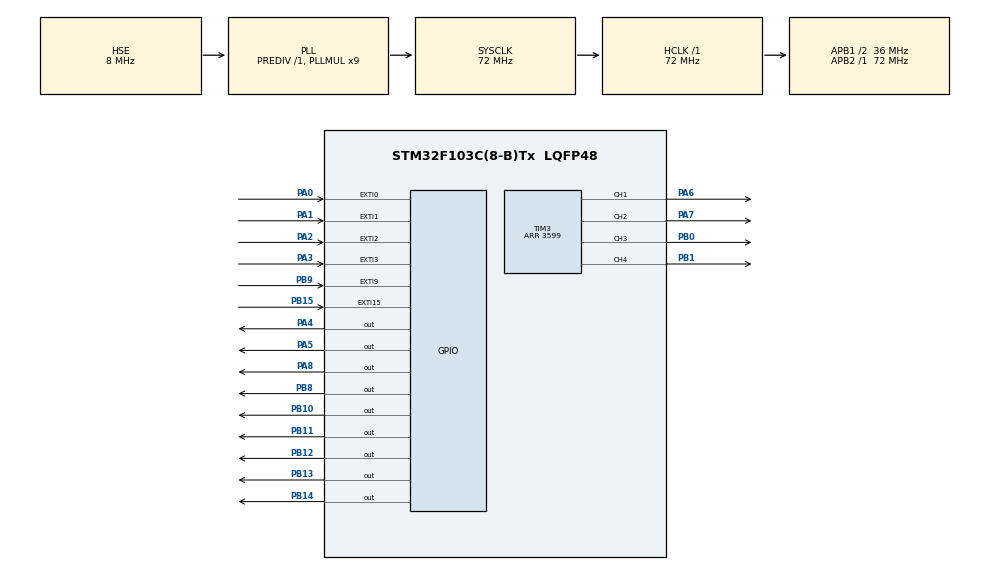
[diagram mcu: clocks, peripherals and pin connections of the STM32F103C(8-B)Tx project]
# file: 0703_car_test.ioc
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Mcu.Family=STM32F1
Mcu.Name=STM32F103C(8-B)Tx
Mcu.Package=LQFP48
NVIC.EXTI0_IRQn=true\:0\:0\:false\:false\:true\:true\:true\:true
NVIC.EXTI1_IRQn=true\:0\:0\:false\:false\:true\:true\:true\:true
NVIC.EXTI2_IRQn=true\:0\:0\:false\:false\:true\:true\:true\:true
NVIC.EXTI3_IRQn=true\:0\:0\:false\:false\:true\:true\:true\:true
NVIC.EXTI9_5_IRQn=true\:0\:0\:false\:false\:true\:true\:true\:true
NVIC.PriorityGroup=NVIC_PRIORITYGROUP_4
PA0-WKUP.GPIO_ModeDefaultEXTI=GPIO_MODE_IT_RISING_FALLING
PA0-WKUP.Signal=GPXTI0
PA1.GPIO_ModeDefaultEXTI=GPIO_MODE_IT_RISING_FALLING
PA1.Signal=GPXTI1
PA13.Mode=Serial_Wire
PA13.Signal=SYS_JTMS-SWDIO
PA14.Mode=Serial_Wire
PA14.Signal=SYS_JTCK-SWCLK
PA2.GPIO_ModeDefaultEXTI=GPIO_MODE_IT_RISING_FALLING
PA2.Signal=GPXTI2
PA3.GPIO_ModeDefaultEXTI=GPIO_MODE_IT_RISING_FALLING
PA3.Signal=GPXTI3
PA4.Signal=GPIO_Output
PA5.Signal=GPIO_Output
PA6.Signal=S_TIM3_CH1
PA7.Signal=S_TIM3_CH2
PA8.Signal=GPIO_Output
PB0.Signal=S_TIM3_CH3
PB1.Signal=S_TIM3_CH4
PB10.Signal=GPIO_Output
PB11.Signal=GPIO_Output
PB12.Signal=GPIO_Output
PB13.Signal=GPIO_Output
PB14.Signal=GPIO_Output
PB15.Signal=GPXTI15
PB8.Signal=GPIO_Output
PB9.GPIO_ModeDefaultEXTI=GPIO_MODE_IT_RISING_FALLING
PB9.Signal=GPXTI9
PD0-OSC_IN.Mode=HSE-External-Oscillator
PD0-OSC_IN.Signal=RCC_OSC_IN
PD1-OSC_OUT.Mode=HSE-External-Oscillator
PD1-OSC_OUT.Signal=RCC_OSC_OUT
ProjectManager.HeapSize=0x200
ProjectManager.StackSize=0x400
ProjectManager.TargetToolchain=STM32CubeIDE
RCC.AHBFreq_Value=72000000
RCC.APB1CLKDivider=RCC_HCLK_DIV2
RCC.APB1Freq_Value=36000000
RCC.APB1TimFreq_Value=72000000
RCC.APB2Freq_Value=72000000
RCC.APB2TimFreq_Value=72000000
RCC.HCLKFreq_Value=72000000
RCC.PLLMUL=RCC_PLL_MUL9
RCC.PLLSourceVirtual=RCC_PLLSOURCE_HSE
RCC.SYSCLKFreq_VALUE=72000000
RCC.SYSCLKSource=RCC_SYSCLKSOURCE_PLLCLK
RCC.USBFreq_Value=72000000
SH.S_TIM3_CH1.0=TIM3_CH1,PWM Generation1 CH1
SH.S_TIM3_CH2.0=TIM3_CH2,PWM Generation2 CH2
SH.S_TIM3_CH3.0=TIM3_CH3,PWM Generation3 CH3
SH.S_TIM3_CH4.0=TIM3_CH4,PWM Generation4 CH4
TIM2.Prescaler=71
TIM3.Channel-PWM\ Generation1\ CH1=TIM_CHANNEL_1
TIM3.Channel-PWM\ Generation2\ CH2=TIM_CHANNEL_2
TIM3.Channel-PWM\ Generation3\ CH3=TIM_CHANNEL_3
TIM3.Channel-PWM\ Generation4\ CH4=TIM_CHANNEL_4
TIM3.Period=3599
VP_TIM2_VS_ClockSourceINT.Mode=Internal
board=custom

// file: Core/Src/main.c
/* USER CODE BEGIN Header */
/**
  ******************************************************************************
  * @file           : main.c
  * @brief          : Main program body
  ******************************************************************************
  * @attention
  *
  * Copyright (c) 2026 STMicroelectronics.
  * All rights reserved.
  *
  * This software is licensed under terms that can be found in the LICENSE file
  * in the root directory of this software component.
  * If no LICENSE file comes with this software, it is provided AS-IS.
  *
  ******************************************************************************
  */
/* USER CODE END Header */
#include "main.h"

/* USER CODE BEGIN Includes */
#include <stdint.h>
/* USER CODE END Includes */

TIM_HandleTypeDef htim2;
TIM_HandleTypeDef htim3;

/* USER CODE BEGIN PV */

#define PWM_MAX 3599

//遥控器相关参数
#define RC_CH_COUNT 4 //遥控器通道数量
#define RC_MID_US 1500 //居中时遥控器输出的PWM信号的高电平宽度，单位us
#define RC_RANGE_US 500 //1500+-500是正常的范围
#define RC_MIN_VALID_US 900
#define RC_MAX_VALID_US 2100 //<900或者>2100的高电平信号视为噪声
#define RC_FAILSAFE_MS 120  //超过120ms没有收到有效遥控信号则停车；这叫作failsafe

// 默认：CH1 转向，CH2 油门
// 如果你用 CH3 当油门，把 THROTTLE_CH 改成 2
#define STEERING_CH 0
#define THROTTLE_CH 1

#define DEADBAND 0.06f // <6%的摇杆偏移视作0
#define EXPO_A 0.45f
#define MAX_SPEED 0.99f //调节最大速度（1.0为最大速度）
#define SLEW_STEP 0.04f //变化率限制，速度每一轮循环最多变化多少，避免电机极大的加速度
#define MIN_EFFECTIVE_CMD 0.12f //最小的有效占空比（占空比太小有可能推不动电机）

// HC-SR04 超声波避障：PB8=Trig，PB9=Echo。PB9按你的硬件确认可承受5V，所以Echo可直接接PB9。
#define US_TRIG_PORT GPIOB
#define US_TRIG_PIN  GPIO_PIN_8
#define US_ECHO_PORT GPIOB
#define US_ECHO_PIN  GPIO_PIN_9

// 非阻塞测距参数
#define US_SAMPLE_INTERVAL_MS 100U  //每100ms触发一次测距；不要太频繁，否则超声波余波会互相干扰
#define US_TIMEOUT_US 12000U        //12ms约对应2m量级往返时间；避障只关心近距离，不需要等30ms
#define OBSTACLE_STOP_CM 15.0f      //小于此距离，禁止继续前进
#define OBSTACLE_RELEASE_CM 25.0f   //大于此距离，解除避障；形成迟滞，避免临界抖动
#define FORWARD_CMD_THRESHOLD 0.05f //油门大于这个值才认为是在主动前进

#define US_STATE_IDLE      0
#define US_STATE_WAIT_RISE 1
#define US_STATE_WAIT_FALL 2
#define US_STATE_DONE      3

// region 不同接线下的方向调试
#define THROTTLE_REVERSE 0
#define STEERING_REVERSE 0

#define FL_REVERSE 1
#define RL_REVERSE 0
#define FR_REVERSE 0
#define RR_REVERSE 0
//endregion

//rc_us: 保存四个遥控通道的脉宽
//注意volatile的使用，此变量可能在主循环之外被修改，例如在中断函数修改，因此需要告诉编译器不要对这个变量进行优化
//对于rc_us: 会在EXT1中断回调里更新，主循环中只作读取
volatile uint16_t rc_us[RC_CH_COUNT] = {
  RC_MID_US, RC_MID_US, RC_MID_US, RC_MID_US
};

//记录每一个通道上升沿的时间
volatile uint16_t rc_start[RC_CH_COUNT] = {0, 0, 0, 0};
//记录每一个通道最后一次收到有效信号的时间，用于failsafe
volatile uint32_t rc_last_ms[RC_CH_COUNT] = {0, 0, 0, 0};

//debug
volatile uint32_t rc_edge_count[RC_CH_COUNT] = {0,0,0,0}; //查看终端出发的数量
volatile uint16_t rc_raw_width[RC_CH_COUNT] = {0,0,0,0}; //查看测出来的原始脉宽是多少

//static关键字：其他文件不能通过extern访问
static float left_now = 0.0f; //当前左轮的速度
static float right_now = 0.0f;

// HC-SR04 非阻塞测距相关变量
volatile float us_distance_cm = -1.0f;       //最近一次有效/无效距离；-1表示本次测距超时或无效
volatile uint8_t obstacle_blocked = 0;       //1表示前方距离过近，禁止继续前进
volatile uint8_t us_state = US_STATE_IDLE;  //超声波测距状态机，有IDLE, WAIT_RISE, WAIT_FALL, DONE四种状态
volatile uint16_t us_echo_start = 0;         //Echo上升沿时间
volatile uint16_t us_echo_width = 0;         //Echo高电平宽度，单位us
volatile uint32_t us_measure_count = 0;      //debug：成功测距次数
volatile uint32_t us_timeout_count = 0;      //debug：测距超时次数
static uint16_t us_trigger_time = 0;         //触发本次测距的时间，单位us计数
static uint32_t us_last_sample_ms = 0;       //上一次触发测距的毫秒时间

/* USER CODE END PV */

void SystemClock_Config(void);
static void MX_GPIO_Init(void);
static void MX_TIM2_Init(void);
static void MX_TIM3_Init(void);
/* USER CODE BEGIN PFP */

//数学处理部分
static float abs_f(float x);
static float clamp_f(float x, float min_v, float max_v);
//遥控器输入处理
static float rc_to_norm(uint16_t pulse_us);
static float apply_deadband(float x);
static float apply_expo(float x);
static float apply_reverse(float x, int reverse);
static float slew_limit(float target, float current, float step);
//电机输出控制
static void motor_set(float cmd,
                      GPIO_TypeDef *in1_port, uint16_t in1_pin,
                      GPIO_TypeDef *in2_port, uint16_t in2_pin,
                      uint32_t pwm_channel,
                      int reverse);

static void motors_set(float left, float right);
static void motors_stop(void);
//遥控器中断测量
static void rc_update_from_exti(uint8_t ch_index,
                                GPIO_TypeDef *port,
                                uint16_t pin);

// HC-SR04 非阻塞测距
static void delay_us(uint16_t us); //短暂阻塞（10us）左右，用于产生10us的Trig信号；不会对电机控制产生太大的影响
static void hcsr04_start_measurement(void);//触发一次10us的Trig信号
static void hcsr04_task(uint32_t now_ms);//在主循环中调用的HC-SR04非阻塞测距任务：只负责触发测距、处理完成/超时，不会等待Echo，因此不会卡住电机控制
static void hcsr04_echo_exti_callback(void);
static void obstacle_update_from_distance(float distance_cm);

/* USER CODE END PFP */

int main(void)
{

  /* MCU Configuration--------------------------------------------------------*/

  /* Reset of all peripherals, Initializes the Flash interface and the Systick. */
  HAL_Init(); //HAL：Hardware Abstraction Layer,硬件抽象层

  /* Configure the system clock */
  SystemClock_Config(); //配置系统时钟

  /* Initialize all configured peripherals */
  MX_GPIO_Init(); //初始化GPIO，把在.ioc中设置的各个GPIO设置好为对应的
  MX_TIM2_Init();
  MX_TIM3_Init();
  /* USER CODE BEGIN 2 */

  HAL_TIM_Base_Start(&htim2); //启动TIM2的基础计数功能，TIM2开始按照指定的频率递增CNT寄存器

  //让TIM3开始输出PWM信号（占空比用的是在ioc中设置的初始值(Pulse)）
  HAL_TIM_PWM_Start(&htim3, TIM_CHANNEL_1);
  HAL_TIM_PWM_Start(&htim3, TIM_CHANNEL_2);
  HAL_TIM_PWM_Start(&htim3, TIM_CHANNEL_3);
  HAL_TIM_PWM_Start(&htim3, TIM_CHANNEL_4);

  // 两个 TB6612FNG 的 STBY 都接 PA8
  HAL_GPIO_WritePin(GPIOA, GPIO_PIN_8, GPIO_PIN_SET);

  motors_stop();

  /* USER CODE END 2 */

  /* Infinite loop */
  /* USER CODE BEGIN WHILE */
  while (1)
  {
    uint16_t throttle_us, steering_us;
    uint32_t throttle_last, steering_last;
    uint32_t now_ms = HAL_GetTick();  //得到当前时间；HAL_GetTick()的返回值，表示初始化完成以来，经过了多少毫秒

    //HC-SR04非阻塞测距任务：只负责触发测距、处理完成/超时，不会等待Echo，因此不会卡住电机控制
    hcsr04_task(now_ms);

    //因为rc_us和rc_last_ms在中断时更新，为了避免主循环在读取时被中断打断，先关闭中断再读取这些数据
    __disable_irq(); //关闭中断
    throttle_us = rc_us[THROTTLE_CH];
    steering_us = rc_us[STEERING_CH];
    throttle_last = rc_last_ms[THROTTLE_CH];
    steering_last = rc_last_ms[STEERING_CH];
    __enable_irq(); //打开中断

    //失控保护
    if ((now_ms - throttle_last > RC_FAILSAFE_MS) ||
        (now_ms - steering_last > RC_FAILSAFE_MS))
    {
    	//一旦一段时间内没有收到遥控器的信号，则停车，但不退出主循环
      left_now = 0.0f;
      right_now = 0.0f;
      motors_stop();
      HAL_Delay(10);
      continue;
    }

    //遥控器脉冲宽度的处理
    float throttle = rc_to_norm(throttle_us);
    float steering = rc_to_norm(steering_us);

    throttle = apply_reverse(throttle, THROTTLE_REVERSE);
    steering = apply_reverse(steering, STEERING_REVERSE);

    throttle = apply_deadband(throttle);
    steering = apply_deadband(steering);

    throttle = apply_expo(throttle);
    steering = apply_expo(steering);

    //避障逻辑：前方过近时，只禁止继续前进；后退和原地转向仍然允许，用于脱困
    if ((obstacle_blocked != 0) && (throttle > FORWARD_CMD_THRESHOLD))
    {
      throttle = 0.0f;
    }

    float left_target = throttle + steering;
    float right_target = throttle - steering;

    //将left/right_target限制在-1~1内
    float max_mag = abs_f(left_target);
    if (abs_f(right_target) > max_mag)
    {
      max_mag = abs_f(right_target);
    }

    if (max_mag < 1.0f)
    {
      max_mag = 1.0f;
    }

    left_target /= max_mag;
    right_target /= max_mag;

    left_target *= MAX_SPEED;
    right_target *= MAX_SPEED;

    //限制速度的变化率
    left_now = slew_limit(left_target, left_now, SLEW_STEP);
    right_now = slew_limit(right_target, right_now, SLEW_STEP);

    //将信号输出到电机
    motors_set(left_now, right_now);

    //每轮结束后阻塞10ms
    HAL_Delay(10);
  }
  /* USER CODE END 3 */
}

void SystemClock_Config(void)
{
  RCC_OscInitTypeDef RCC_OscInitStruct = {0};
  RCC_ClkInitTypeDef RCC_ClkInitStruct = {0};

  /** Initializes the RCC Oscillators according to the specified parameters
  * in the RCC_OscInitTypeDef structure.
  */
  RCC_OscInitStruct.OscillatorType = RCC_OSCILLATORTYPE_HSE;
  RCC_OscInitStruct.HSEState = RCC_HSE_ON;
  RCC_OscInitStruct.HSEPredivValue = RCC_HSE_PREDIV_DIV1;
  RCC_OscInitStruct.HSIState = RCC_HSI_ON;
  RCC_OscInitStruct.PLL.PLLState = RCC_PLL_ON;
  RCC_OscInitStruct.PLL.PLLSource = RCC_PLLSOURCE_HSE;
  RCC_OscInitStruct.PLL.PLLMUL = RCC_PLL_MUL9;
  if (HAL_RCC_OscConfig(&RCC_OscInitStruct) != HAL_OK)
  {
    Error_Handler();
  }

  /** Initializes the CPU, AHB and APB buses clocks
  */
  RCC_ClkInitStruct.ClockType = RCC_CLOCKTYPE_HCLK|RCC_CLOCKTYPE_SYSCLK
                              |RCC_CLOCKTYPE_PCLK1|RCC_CLOCKTYPE_PCLK2;
  RCC_ClkInitStruct.SYSCLKSource = RCC_SYSCLKSOURCE_PLLCLK;
  RCC_ClkInitStruct.AHBCLKDivider = RCC_SYSCLK_DIV1;
  RCC_ClkInitStruct.APB1CLKDivider = RCC_HCLK_DIV2;
  RCC_ClkInitStruct.APB2CLKDivider = RCC_HCLK_DIV1;

  if (HAL_RCC_ClockConfig(&RCC_ClkInitStruct, FLASH_LATENCY_2) != HAL_OK)
  {
    Error_Handler();
  }
}

static void MX_TIM2_Init(void)
{

  TIM_ClockConfigTypeDef sClockSourceConfig = {0};
  TIM_MasterConfigTypeDef sMasterConfig = {0};

  htim2.Instance = TIM2;
  htim2.Init.Prescaler = 71;
  htim2.Init.CounterMode = TIM_COUNTERMODE_UP;
  htim2.Init.Period = 65535;
  htim2.Init.ClockDivision = TIM_CLOCKDIVISION_DIV1;
  htim2.Init.AutoReloadPreload = TIM_AUTORELOAD_PRELOAD_DISABLE;
  if (HAL_TIM_Base_Init(&htim2) != HAL_OK)
  {
    Error_Handler();
  }
  sClockSourceConfig.ClockSource = TIM_CLOCKSOURCE_INTERNAL;
  if (HAL_TIM_ConfigClockSource(&htim2, &sClockSourceConfig) != HAL_OK)
  {
    Error_Handler();
  }
  sMasterConfig.MasterOutputTrigger = TIM_TRGO_RESET;
  sMasterConfig.MasterSlaveMode = TIM_MASTERSLAVEMODE_DISABLE;
  if (HAL_TIMEx_MasterConfigSynchronization(&htim2, &sMasterConfig) != HAL_OK)
  {
    Error_Handler();
  }

}

static void MX_TIM3_Init(void)
{

  TIM_MasterConfigTypeDef sMasterConfig = {0};
  TIM_OC_InitTypeDef sConfigOC = {0};

  htim3.Instance = TIM3;
  htim3.Init.Prescaler = 0;
  htim3.Init.CounterMode = TIM_COUNTERMODE_UP;
  htim3.Init.Period = 3599;
  htim3.Init.ClockDivision = TIM_CLOCKDIVISION_DIV1;
  htim3.Init.AutoReloadPreload = TIM_AUTORELOAD_PRELOAD_DISABLE;
  if (HAL_TIM_PWM_Init(&htim3) != HAL_OK)
  {
    Error_Handler();
  }
  sMasterConfig.MasterOutputTrigger = TIM_TRGO_RESET;
  sMasterConfig.MasterSlaveMode = TIM_MASTERSLAVEMODE_DISABLE;
  if (HAL_TIMEx_MasterConfigSynchronization(&htim3, &sMasterConfig) != HAL_OK)
  {
    Error_Handler();
  }
  sConfigOC.OCMode = TIM_OCMODE_PWM1;
  sConfigOC.Pulse = 0;
  sConfigOC.OCPolarity = TIM_OCPOLARITY_HIGH;
  sConfigOC.OCFastMode = TIM_OCFAST_DISABLE;
  if (HAL_TIM_PWM_ConfigChannel(&htim3, &sConfigOC, TIM_CHANNEL_1) != HAL_OK)
  {
    Error_Handler();
  }
  if (HAL_TIM_PWM_ConfigChannel(&htim3, &sConfigOC, TIM_CHANNEL_2) != HAL_OK)
  {
    Error_Handler();
  }
  if (HAL_TIM_PWM_ConfigChannel(&htim3, &sConfigOC, TIM_CHANNEL_3) != HAL_OK)
  {
    Error_Handler();
  }
  if (HAL_TIM_PWM_ConfigChannel(&htim3, &sConfigOC, TIM_CHANNEL_4) != HAL_OK)
  {
    Error_Handler();
  }
  HAL_TIM_MspPostInit(&htim3);

}

static void MX_GPIO_Init(void)
{
  GPIO_InitTypeDef GPIO_InitStruct = {0};

  /* GPIO Ports Clock Enable */
  __HAL_RCC_GPIOD_CLK_ENABLE();
  __HAL_RCC_GPIOA_CLK_ENABLE();
  __HAL_RCC_GPIOB_CLK_ENABLE();

  /*Configure GPIO pin Output Level */
  HAL_GPIO_WritePin(GPIOA, GPIO_PIN_4|GPIO_PIN_5|GPIO_PIN_8, GPIO_PIN_RESET);

  /*Configure GPIO pin Output Level */
  HAL_GPIO_WritePin(GPIOB, GPIO_PIN_8|GPIO_PIN_10|GPIO_PIN_11|GPIO_PIN_12|GPIO_PIN_13
                          |GPIO_PIN_14|GPIO_PIN_15, GPIO_PIN_RESET);

  //遥控器的输入
  /*Configure GPIO pins : PA0 PA1 PA2 PA3 */
  GPIO_InitStruct.Pin = GPIO_PIN_0|GPIO_PIN_1|GPIO_PIN_2|GPIO_PIN_3;
  GPIO_InitStruct.Mode = GPIO_MODE_IT_RISING_FALLING; //外部中断输入；并且时上升沿和下降沿都会触发
  GPIO_InitStruct.Pull = GPIO_NOPULL;
  HAL_GPIO_Init(GPIOA, &GPIO_InitStruct);

  /*Configure GPIO pins : PA4 PA5 PA8 */
  GPIO_InitStruct.Pin = GPIO_PIN_4|GPIO_PIN_5|GPIO_PIN_8;
  GPIO_InitStruct.Mode = GPIO_MODE_OUTPUT_PP; //推挽输出
  GPIO_InitStruct.Pull = GPIO_NOPULL;
  GPIO_InitStruct.Speed = GPIO_SPEED_FREQ_LOW;
  HAL_GPIO_Init(GPIOA, &GPIO_InitStruct);

  /*Configure GPIO pins : PB10 PB11 PB12 PB13
                           PB14 PB15*/
  GPIO_InitStruct.Pin = GPIO_PIN_10|GPIO_PIN_11|GPIO_PIN_12|GPIO_PIN_13
                          |GPIO_PIN_14|GPIO_PIN_15;
  GPIO_InitStruct.Mode = GPIO_MODE_OUTPUT_PP;
  GPIO_InitStruct.Pull = GPIO_NOPULL;
  GPIO_InitStruct.Speed = GPIO_SPEED_FREQ_LOW;
  HAL_GPIO_Init(GPIOB, &GPIO_InitStruct);

  /*Configure GPIO pin : PB8，HC-SR04 Trig */
  GPIO_InitStruct.Pin = GPIO_PIN_8;
  GPIO_InitStruct.Mode = GPIO_MODE_OUTPUT_PP;
  GPIO_InitStruct.Pull = GPIO_NOPULL;
  GPIO_InitStruct.Speed = GPIO_SPEED_FREQ_LOW;
  HAL_GPIO_Init(GPIOB, &GPIO_InitStruct);

  /*Configure GPIO pin : PB9，HC-SR04 Echo，使用外部中断，上升沿/下降沿都触发 */
  GPIO_InitStruct.Pin = GPIO_PIN_9;
  GPIO_InitStruct.Mode = GPIO_MODE_IT_RISING_FALLING;
  GPIO_InitStruct.Pull = GPIO_NOPULL;
  HAL_GPIO_Init(GPIOB, &GPIO_InitStruct);

  /* EXTI interrupt init*/
  HAL_NVIC_SetPriority(EXTI0_IRQn, 0, 0);
  HAL_NVIC_EnableIRQ(EXTI0_IRQn);

  HAL_NVIC_SetPriority(EXTI1_IRQn, 0, 0);
  HAL_NVIC_EnableIRQ(EXTI1_IRQn);

  HAL_NVIC_SetPriority(EXTI2_IRQn, 0, 0);
  HAL_NVIC_EnableIRQ(EXTI2_IRQn);

  HAL_NVIC_SetPriority(EXTI3_IRQn, 0, 0);
  HAL_NVIC_EnableIRQ(EXTI3_IRQn);

  HAL_NVIC_SetPriority(EXTI9_5_IRQn, 0, 0);
  HAL_NVIC_EnableIRQ(EXTI9_5_IRQn);

}

/* USER CODE BEGIN 4 */

static float abs_f(float x)
{
  return x >= 0.0f ? x : -x;
}

static float clamp_f(float x, float min_v, float max_v)
{
  if (x < min_v) return min_v;
  if (x > max_v) return max_v;
  return x;
}

static float rc_to_norm(uint16_t pulse_us)
{
  float x = ((float)pulse_us - (float)RC_MID_US) / (float)RC_RANGE_US;
  return clamp_f(x, -1.0f, 1.0f);
}

static float apply_deadband(float x)
{
  if (abs_f(x) < DEADBAND)
  {
    return 0.0f;
  }

  if (x > 0.0f)
  {
    return (x - DEADBAND) / (1.0f - DEADBAND);
  }
  else
  {
    return (x + DEADBAND) / (1.0f - DEADBAND);
  }
}

static float apply_expo(float x)
{
  return EXPO_A * x * x * x + (1.0f - EXPO_A) * x;
}

static float apply_reverse(float x, int reverse)
{
  return reverse ? -x : x;
}

static float slew_limit(float target, float current, float step)
{
  if (target > current + step)
  {
    return current + step;
  }
  else if (target < current - step)
  {
    return current - step;
  }
  else
  {
    return target;
  }
}

static void motor_set(float cmd,
                      GPIO_TypeDef *in1_port, uint16_t in1_pin,
                      GPIO_TypeDef *in2_port, uint16_t in2_pin,
                      uint32_t pwm_channel,
                      int reverse)
{
  if (reverse)
  {
    cmd = -cmd;
  }

  cmd = clamp_f(cmd, -1.0f, 1.0f);

  if (abs_f(cmd) < 0.001f)
  {
    HAL_GPIO_WritePin(in1_port, in1_pin, GPIO_PIN_RESET);
    HAL_GPIO_WritePin(in2_port, in2_pin, GPIO_PIN_RESET);
    __HAL_TIM_SET_COMPARE(&htim3, pwm_channel, 0);
    return;
  }

  float mag = abs_f(cmd);

  mag = MIN_EFFECTIVE_CMD + mag * (1.0f - MIN_EFFECTIVE_CMD);
  if (mag > 1.0f)
  {
    mag = 1.0f;
  }

  uint16_t duty = (uint16_t)(mag * PWM_MAX + 0.5f);

  if (cmd > 0.0f)
  {
    HAL_GPIO_WritePin(in1_port, in1_pin, GPIO_PIN_SET);
    HAL_GPIO_WritePin(in2_port, in2_pin, GPIO_PIN_RESET);
  }
  else
  {
    HAL_GPIO_WritePin(in1_port, in1_pin, GPIO_PIN_RESET);
    HAL_GPIO_WritePin(in2_port, in2_pin, GPIO_PIN_SET);
  }

  __HAL_TIM_SET_COMPARE(&htim3, pwm_channel, duty);
}

static void motors_set(float left, float right)
{
  // 左前：PA6 PWM, PB10/PB11 方向
  motor_set(left,
            GPIOB, GPIO_PIN_10,
            GPIOB, GPIO_PIN_11,
            TIM_CHANNEL_1,
            FL_REVERSE);

  // 左后：PA7 PWM, PB12/PB13 方向
  motor_set(left,
            GPIOB, GPIO_PIN_12,
            GPIOB, GPIO_PIN_13,
            TIM_CHANNEL_2,
            RL_REVERSE);

  // 右前：PB0 PWM, PB14/PB15 方向
  motor_set(right,
            GPIOB, GPIO_PIN_14,
            GPIOB, GPIO_PIN_15,
            TIM_CHANNEL_3,
            FR_REVERSE);

  // 右后：PB1 PWM, PA4/PA5 方向
  motor_set(right,
            GPIOA, GPIO_PIN_4,
            GPIOA, GPIO_PIN_5,
            TIM_CHANNEL_4,
            RR_REVERSE);
}

static void motors_stop(void)
{
  HAL_GPIO_WritePin(GPIOB, GPIO_PIN_10, GPIO_PIN_RESET);
  HAL_GPIO_WritePin(GPIOB, GPIO_PIN_11, GPIO_PIN_RESET);
  HAL_GPIO_WritePin(GPIOB, GPIO_PIN_12, GPIO_PIN_RESET);
  HAL_GPIO_WritePin(GPIOB, GPIO_PIN_13, GPIO_PIN_RESET);
  HAL_GPIO_WritePin(GPIOB, GPIO_PIN_14, GPIO_PIN_RESET);
  HAL_GPIO_WritePin(GPIOB, GPIO_PIN_15, GPIO_PIN_RESET);
  HAL_GPIO_WritePin(GPIOA, GPIO_PIN_4, GPIO_PIN_RESET);
  HAL_GPIO_WritePin(GPIOA, GPIO_PIN_5, GPIO_PIN_RESET);

  __HAL_TIM_SET_COMPARE(&htim3, TIM_CHANNEL_1, 0);
  __HAL_TIM_SET_COMPARE(&htim3, TIM_CHANNEL_2, 0);
  __HAL_TIM_SET_COMPARE(&htim3, TIM_CHANNEL_3, 0);
  __HAL_TIM_SET_COMPARE(&htim3, TIM_CHANNEL_4, 0);
}

static void delay_us(uint16_t us)
{
  uint16_t start = (uint16_t)__HAL_TIM_GET_COUNTER(&htim2);

  while ((uint16_t)((uint16_t)__HAL_TIM_GET_COUNTER(&htim2) - start) < us)
  {
    //只用于产生10us Trig脉冲。这里最多阻塞10us，不会影响电机控制。
  }
}

static void obstacle_update_from_distance(float distance_cm)
{
  if ((distance_cm > 0.0f) && (distance_cm < OBSTACLE_STOP_CM))
  {
    obstacle_blocked = 1;
  }
  else if ((distance_cm < 0.0f) || (distance_cm > OBSTACLE_RELEASE_CM))
  {
    obstacle_blocked = 0;
  }
}

static void hcsr04_start_measurement(void) //触发一次10us的Trig信号
{
  //如果上一次测距还没结束，不要重复触发
  if (us_state == US_STATE_WAIT_RISE || us_state == US_STATE_WAIT_FALL)
  {
    return;
  }

  __disable_irq();
  us_state = US_STATE_WAIT_RISE;
  us_echo_width = 0;
  us_trigger_time = (uint16_t)__HAL_TIM_GET_COUNTER(&htim2);
  __enable_irq();

  //HC-SR04要求Trig至少10us高电平。这里仅阻塞10us，不再等待Echo。
  HAL_GPIO_WritePin(US_TRIG_PORT, US_TRIG_PIN, GPIO_PIN_RESET);
  delay_us(2);
  HAL_GPIO_WritePin(US_TRIG_PORT, US_TRIG_PIN, GPIO_PIN_SET);
  delay_us(10);
  HAL_GPIO_WritePin(US_TRIG_PORT, US_TRIG_PIN, GPIO_PIN_RESET);
}

static void hcsr04_task(uint32_t now_ms)
{
  uint8_t state_snapshot;
  uint16_t width_snapshot;
  float distance;

  __disable_irq();
  state_snapshot = us_state; //拿到当前状态
  width_snapshot = us_echo_width; //拿到上一次echo信号宽度
  __enable_irq();

  if (state_snapshot == US_STATE_DONE)
  {
	 //如果刚刚完成测距
    distance = (float)width_snapshot / 58.0f;
    us_distance_cm = distance; //计算距离
    us_measure_count++;
    obstacle_update_from_distance(distance);//更新“是否被阻挡的状态”

    __disable_irq();
    us_state = US_STATE_IDLE;//更新状态为空闲
    __enable_irq();

    us_last_sample_ms = now_ms; //更新 上一次采样时间 为当前时间
    return;
  }

  if (state_snapshot == US_STATE_WAIT_RISE || state_snapshot == US_STATE_WAIT_FALL)
  {
	//如果正在等待echo信号的上升沿或者下降沿：几乎什么都不用干，但是需要看一下是否超时了
    uint16_t now_us = (uint16_t)__HAL_TIM_GET_COUNTER(&htim2);
    uint16_t elapsed_us = (uint16_t)(now_us - us_trigger_time);

    if (elapsed_us > US_TIMEOUT_US)
    {
    	//失效处理
      us_distance_cm = -1.0f;
      us_timeout_count++;
      obstacle_update_from_distance(-1.0f);

      __disable_irq();
      us_state = US_STATE_IDLE;
      __enable_irq();

      us_last_sample_ms = now_ms;
    }

    return;
  }

  if ((uint32_t)(now_ms - us_last_sample_ms) >= US_SAMPLE_INTERVAL_MS)
  {
	//又到了新一轮的采样时间
    hcsr04_start_measurement();
  }
}

static void hcsr04_echo_exti_callback(void)
{
  uint16_t now = (uint16_t)__HAL_TIM_GET_COUNTER(&htim2);

  if (HAL_GPIO_ReadPin(US_ECHO_PORT, US_ECHO_PIN) == GPIO_PIN_SET)
  {
    //Echo上升沿：记录高电平开始时间
    if (us_state == US_STATE_WAIT_RISE)
    {
      us_echo_start = now;
      us_state = US_STATE_WAIT_FALL;
    }
  }
  else
  {
    //Echo下降沿：记录高电平宽度，测距完成
    if (us_state == US_STATE_WAIT_FALL)
    {
      us_echo_width = (uint16_t)(now - us_echo_start);
      us_state = US_STATE_DONE;
    }
  }
}

static void rc_update_from_exti(uint8_t ch_index,
                                GPIO_TypeDef *port,
                                uint16_t pin)
{
	//刚刚来了一个GPIO的中断输入，然后进入这个函数
  if (ch_index >= RC_CH_COUNT)
  {
    return;
  }

  //debug：每次调用rc_update_from_exti的时候，应该是一个上升沿或者下降沿来临的时候
  	rc_edge_count[ch_index]++;//更新边沿数量；

  uint16_t now = (uint16_t)__HAL_TIM_GET_COUNTER(&htim2);

  if (HAL_GPIO_ReadPin(port, pin) == GPIO_PIN_SET) //现在这个port是高电平，说明刚刚来的是一个上升沿
  {
    rc_start[ch_index] = now; //记录上升沿开始的时间
  }
  else //刚刚来的是一个下降沿
  {
    uint16_t width = (uint16_t)(now - rc_start[ch_index]); //统计上一个高电平脉冲宽度

    //debug
    rc_raw_width[ch_index] = width;

    if (width >= RC_MIN_VALID_US && width <= RC_MAX_VALID_US) //得到了一个有效的高电平脉冲宽度
    {
      rc_us[ch_index] = width; //记录
      rc_last_ms[ch_index] = HAL_GetTick();
    }
  }
}

void HAL_GPIO_EXTI_Callback(uint16_t GPIO_Pin)
{
  if (GPIO_Pin == GPIO_PIN_0)
  {
    rc_update_from_exti(0, GPIOA, GPIO_PIN_0);
  }
  else if (GPIO_Pin == GPIO_PIN_1)
  {
    rc_update_from_exti(1, GPIOA, GPIO_PIN_1);
  }
  else if (GPIO_Pin == GPIO_PIN_2)
  {
    rc_update_from_exti(2, GPIOA, GPIO_PIN_2);
  }
  else if (GPIO_Pin == GPIO_PIN_3)
  {
    rc_update_from_exti(3, GPIOA, GPIO_PIN_3);
  }
  else if (GPIO_Pin == GPIO_PIN_9)
  {
    hcsr04_echo_exti_callback();
  }
}

/* USER CODE END 4 */

void Error_Handler(void)
{
  __disable_irq();
  while (1)
  {
  }
}
